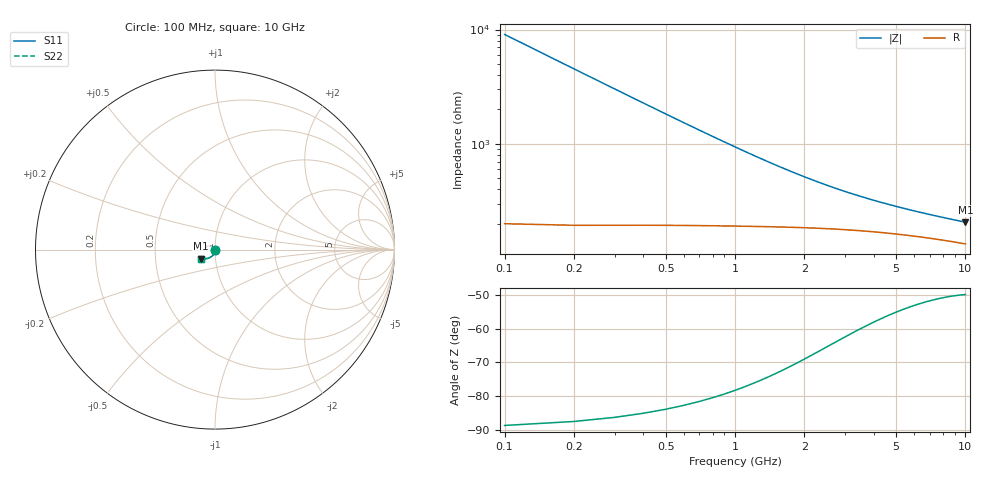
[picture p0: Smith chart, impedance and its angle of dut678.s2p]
! Touchstone file exported from HFSS 2024.1.0
!  File:  C:/UserFiles/LocalFiles/RDL_TSV_Batchsim/temp_TSV1_678_1779794725.aedt
!  Generated:  07:30:35 PM May 26, 2026
!  Design:  TSV1
!  Project:  temp_TSV1_678_1779794725
!  Setup:  Setup1
!  Solution:  Sweep
! Variables:
!  dtsv = 15um
!  hbump = 3um
!  htsv = 96.53um
!  lrdl = 252.1521522um
!  p = 40
!  p1 = 41.55um
!  t = 500um
!  trdl = 3um
!  wrdl = 24.89489489um
# GHz S MA R 50.000000
! Terminal data exported
! Port[1] = TSV22_T1
! Port[2] = TSV22_T2
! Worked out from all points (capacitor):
!   100 points, 100 MHz to 10 GHz, reference 50 ohm
!   read as one part in shunt: C = 176 fF near 100 MHz
!   lowest |Z| = 206 ohm at 10 GHz (marker M1)
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0.1  0.002421 -89.2  0.9998 -0.2  0.9998 -0.2  0.002421 -89.2
! Gamma 0 0 0 0
! Port Impedance 50 0 50 0
0.2  0.004846 -91.6  0.9996 -0.4  0.9996 -0.4  0.004846 -91.6
0.3  0.00727 -93.4  0.9993 -0.5  0.9993 -0.5  0.00727 -93.4
0.4  0.009681 -95.1  0.9988 -0.7  0.9988 -0.7  0.009681 -95.1
0.5  0.01207 -96.7  0.9983 -0.9  0.9983 -0.9  0.01207 -96.7
0.6  0.01442 -98.3  0.9976 -1.0  0.9976 -1.0  0.01442 -98.3
0.7  0.01674 -99.8  0.9968 -1.2  0.9968 -1.2  0.01674 -99.8
0.8  0.01902 -101.2  0.996 -1.4  0.996 -1.4  0.01902 -101.2
0.9  0.02125 -102.7  0.9951 -1.5  0.9951 -1.5  0.02125 -102.7
1.1  0.02557 -105.4  0.993 -1.8  0.993 -1.8  0.02557 -105.4
1.4  0.03163 -109.3  0.9895 -2.2  0.9895 -2.2  0.03163 -109.3
1.6  0.03539 -111.7  0.987 -2.5  0.987 -2.5  0.03539 -111.7
1.8  0.03891 -114.0  0.9843 -2.7  0.9843 -2.7  0.03891 -114.0
2.1  0.04377 -117.1  0.9804 -3.0  0.9804 -3.0  0.04377 -117.1
2.5  0.04952 -120.8  0.9752 -3.4  0.9752 -3.4  0.04952 -120.8
2.9  0.05452 -124.0  0.9702 -3.7  0.9702 -3.7  0.05452 -124.0
3.4  0.0599 -127.5  0.9645 -4.0  0.9645 -4.0  0.0599 -127.5
4.2  0.06697 -131.9  0.9565 -4.4  0.9565 -4.4  0.06697 -131.9
5.1  0.07328 -135.7  0.949 -4.8  0.949 -4.8  0.07328 -135.7
6.7  0.08178 -140.6  0.9386 -5.5  0.9386 -5.5  0.08178 -140.6
8.4  0.08841 -144.2  0.9305 -6.1  0.9305 -6.1  0.08841 -144.2
10  0.09322 -146.6  0.9247 -6.6  0.9247 -6.6  0.09322 -146.6
